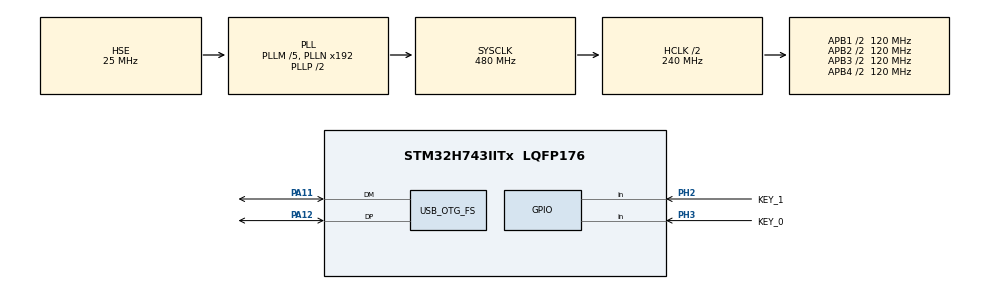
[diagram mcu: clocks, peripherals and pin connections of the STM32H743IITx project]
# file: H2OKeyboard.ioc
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Mcu.Family=STM32H7
Mcu.Name=STM32H743IITx
Mcu.Package=LQFP176
NVIC.OTG_FS_IRQn=true\:0\:0\:false\:false\:true\:false\:true\:true
NVIC.PriorityGroup=NVIC_PRIORITYGROUP_4
PA11.Mode=Device_Only
PA11.Signal=USB_OTG_FS_DM
PA12.Mode=Device_Only
PA12.Signal=USB_OTG_FS_DP
PH0-OSC_IN\ (PH0).Mode=HSE-External-Oscillator
PH0-OSC_IN\ (PH0).Signal=RCC_OSC_IN
PH1-OSC_OUT\ (PH1).Mode=HSE-External-Oscillator
PH1-OSC_OUT\ (PH1).Signal=RCC_OSC_OUT
PH2.GPIO_Label=KEY_1
PH2.Signal=GPIO_Input
PH3.GPIO_Label=KEY_0
PH3.Signal=GPIO_Input
ProjectManager.HeapSize=0x200
ProjectManager.StackSize=0x400
ProjectManager.TargetToolchain=STM32CubeIDE
RCC.ADCFreq_Value=50390625
RCC.APB1Freq_Value=120000000
RCC.APB2Freq_Value=120000000
RCC.APB3Freq_Value=120000000
RCC.APB4Freq_Value=120000000
RCC.CortexFreq_Value=480000000
RCC.D1PPRE=RCC_APB3_DIV2
RCC.D2PPRE1=RCC_APB1_DIV2
RCC.D2PPRE2=RCC_APB2_DIV2
RCC.D3PPRE=RCC_APB4_DIV2
RCC.DIVM1=5
RCC.DIVN1=192
RCC.DIVQ1=16
RCC.HCLKFreq_Value=240000000
RCC.HPRE=RCC_HCLK_DIV2
RCC.PLLFRACN=0
RCC.PLLSourceVirtual=RCC_PLLSOURCE_HSE
RCC.SYSCLKFreq_VALUE=480000000
RCC.SYSCLKSource=RCC_SYSCLKSOURCE_PLLCLK
RCC.USBFreq_Value=60000000
USB_DEVICE.CLASS_NAME_FS=HID
USB_DEVICE.MANUFACTURER_STRING-HID_FS=H2OLtd
USB_DEVICE.PRODUCT_STRING_HID_FS=H2OKeyboard
USB_DEVICE.VirtualMode-HID_FS=Hid
USB_DEVICE.VirtualModeFS=Hid_FS
USB_OTG_FS.VirtualMode=Device_Only
VP_USB_DEVICE_VS_USB_DEVICE_HID_FS.Mode=HID_FS
board=custom

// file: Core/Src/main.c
/* USER CODE BEGIN Header */
/**
  ******************************************************************************
  * @file           : main.c
  * @brief          : Main program body
  ******************************************************************************
  * @attention
  *
  * Copyright (c) 2024 STMicroelectronics.
  * All rights reserved.
  *
  * This software is licensed under terms that can be found in the LICENSE file
  * in the root directory of this software component.
  * If no LICENSE file comes with this software, it is provided AS-IS.
  *
  ******************************************************************************
  */
/* USER CODE END Header */
#include "main.h"
#include "usb_device.h"
#include "gpio.h"

/* USER CODE BEGIN Includes */
#include "Inc.h"
/* USER CODE END Includes */

/* USER CODE BEGIN PV */
extern USBD_HandleTypeDef hUsbDeviceFS;
/* USER CODE END PV */

void SystemClock_Config(void);
static void MPU_Config(void);

int main(void)
{

  /* MPU Configuration--------------------------------------------------------*/
  MPU_Config();

  /* MCU Configuration--------------------------------------------------------*/

  /* Reset of all peripherals, Initializes the Flash interface and the Systick. */
  HAL_Init();

  /* Configure the system clock */
  SystemClock_Config();

  /* Initialize all configured peripherals */
  MX_GPIO_Init();
  MX_USB_DEVICE_Init();
  /* USER CODE BEGIN 2 */
    uint8_t  buffer[8] = {
        0x00,   // buffer[0]:   bit0: Left CTRL
                    //              bit1: Left SHIFT
                    //              bit2: Left ALT
                    //              bit3: Left GUI
                    //              bit4: Right CTRL
                    //              bit5: Right SHIFT
                    //              bit6: Right ALT
                    //              bit7: Right GUI
        0x00,   // buffer[1]: Padding, always 0x00
        0x00,   // buffer[2]:Key 1
        0x00,   // buffer[3]:Key 2
        0x00,   // buffer[4]:Key 3
        0x00,   // buffer[5]:Key 4
        0x00,   // buffer[6]:Key 5
        0x00    // buffer[7]:Key 6
    };
  /* USER CODE END 2 */

  /* Infinite loop */
  /* USER CODE BEGIN WHILE */
  while (1)
  {
      if(HAL_GPIO_ReadPin(KEY_0_GPIO_Port,KEY_0_Pin) == 1)
      {
          buffer[2] = 0x04; // a
      }
      else if(HAL_GPIO_ReadPin(KEY_1_GPIO_Port,KEY_1_Pin) == 1)
      {
          buffer[2] = 0x05;
      }
      else
      {
          buffer[2] = 0x00; // do nothing
      }

      while(USBD_HID_SendReport(&hUsbDeviceFS, buffer, 8));

    /* USER CODE END WHILE */

  }
}

void SystemClock_Config(void)
{
  RCC_OscInitTypeDef RCC_OscInitStruct = {0};
  RCC_ClkInitTypeDef RCC_ClkInitStruct = {0};

  /** Supply configuration update enable
  */
  HAL_PWREx_ConfigSupply(PWR_LDO_SUPPLY);

  /** Configure the main internal regulator output voltage
  */
  __HAL_PWR_VOLTAGESCALING_CONFIG(PWR_REGULATOR_VOLTAGE_SCALE1);

  while(!__HAL_PWR_GET_FLAG(PWR_FLAG_VOSRDY)) {}

  __HAL_RCC_SYSCFG_CLK_ENABLE();
  __HAL_PWR_VOLTAGESCALING_CONFIG(PWR_REGULATOR_VOLTAGE_SCALE0);

  while(!__HAL_PWR_GET_FLAG(PWR_FLAG_VOSRDY)) {}

  /** Initializes the RCC Oscillators according to the specified parameters
  * in the RCC_OscInitTypeDef structure.
  */
  RCC_OscInitStruct.OscillatorType = RCC_OSCILLATORTYPE_HSE;
  RCC_OscInitStruct.HSEState = RCC_HSE_ON;
  RCC_OscInitStruct.PLL.PLLState = RCC_PLL_ON;
  RCC_OscInitStruct.PLL.PLLSource = RCC_PLLSOURCE_HSE;
  RCC_OscInitStruct.PLL.PLLM = 5;
  RCC_OscInitStruct.PLL.PLLN = 192;
  RCC_OscInitStruct.PLL.PLLP = 2;
  RCC_OscInitStruct.PLL.PLLQ = 16;
  RCC_OscInitStruct.PLL.PLLR = 2;
  RCC_OscInitStruct.PLL.PLLRGE = RCC_PLL1VCIRANGE_2;
  RCC_OscInitStruct.PLL.PLLVCOSEL = RCC_PLL1VCOWIDE;
  RCC_OscInitStruct.PLL.PLLFRACN = 0;
  if (HAL_RCC_OscConfig(&RCC_OscInitStruct) != HAL_OK)
  {
    Error_Handler();
  }

  /** Initializes the CPU, AHB and APB buses clocks
  */
  RCC_ClkInitStruct.ClockType = RCC_CLOCKTYPE_HCLK|RCC_CLOCKTYPE_SYSCLK
                              |RCC_CLOCKTYPE_PCLK1|RCC_CLOCKTYPE_PCLK2
                              |RCC_CLOCKTYPE_D3PCLK1|RCC_CLOCKTYPE_D1PCLK1;
  RCC_ClkInitStruct.SYSCLKSource = RCC_SYSCLKSOURCE_PLLCLK;
  RCC_ClkInitStruct.SYSCLKDivider = RCC_SYSCLK_DIV1;
  RCC_ClkInitStruct.AHBCLKDivider = RCC_HCLK_DIV2;
  RCC_ClkInitStruct.APB3CLKDivider = RCC_APB3_DIV2;
  RCC_ClkInitStruct.APB1CLKDivider = RCC_APB1_DIV2;
  RCC_ClkInitStruct.APB2CLKDivider = RCC_APB2_DIV2;
  RCC_ClkInitStruct.APB4CLKDivider = RCC_APB4_DIV2;

  if (HAL_RCC_ClockConfig(&RCC_ClkInitStruct, FLASH_LATENCY_4) != HAL_OK)
  {
    Error_Handler();
  }
}

/* MPU Configuration */

void MPU_Config(void)
{
  MPU_Region_InitTypeDef MPU_InitStruct = {0};

  /* Disables the MPU */
  HAL_MPU_Disable();

  /** Initializes and configures the Region and the memory to be protected
  */
  MPU_InitStruct.Enable = MPU_REGION_ENABLE;
  MPU_InitStruct.Number = MPU_REGION_NUMBER0;
  MPU_InitStruct.BaseAddress = 0x0;
  MPU_InitStruct.Size = MPU_REGION_SIZE_4GB;
  MPU_InitStruct.SubRegionDisable = 0x87;
  MPU_InitStruct.TypeExtField = MPU_TEX_LEVEL0;
  MPU_InitStruct.AccessPermission = MPU_REGION_NO_ACCESS;
  MPU_InitStruct.DisableExec = MPU_INSTRUCTION_ACCESS_DISABLE;
  MPU_InitStruct.IsShareable = MPU_ACCESS_SHAREABLE;
  MPU_InitStruct.IsCacheable = MPU_ACCESS_NOT_CACHEABLE;
  MPU_InitStruct.IsBufferable = MPU_ACCESS_NOT_BUFFERABLE;

  HAL_MPU_ConfigRegion(&MPU_InitStruct);
  /* Enables the MPU */
  HAL_MPU_Enable(MPU_PRIVILEGED_DEFAULT);

}

void Error_Handler(void)
{
  __disable_irq();
  while (1)
  {
  }
}
